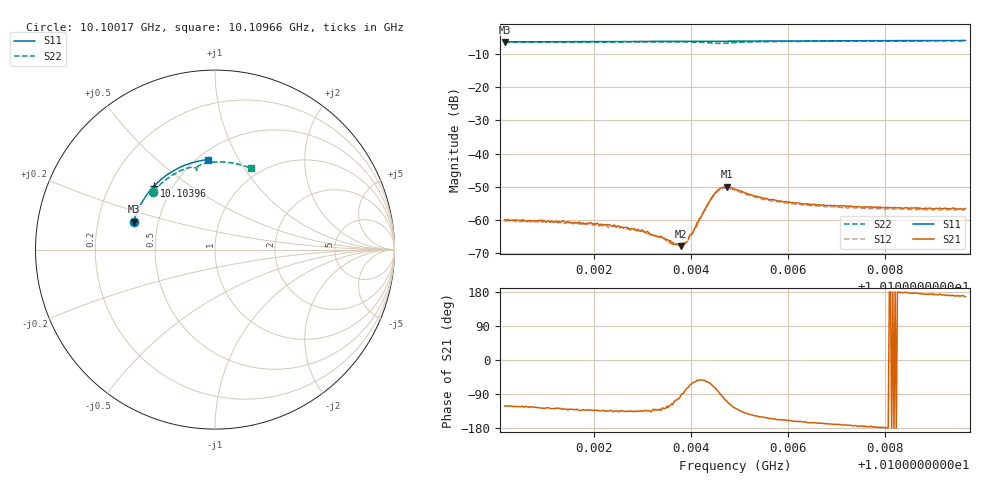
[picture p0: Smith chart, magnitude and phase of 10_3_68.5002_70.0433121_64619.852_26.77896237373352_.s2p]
#  HZ  S  RI  R  50.00
! Rohde & Schwarz Vector Network Analyzer
! Rohde-Schwarz,ZNB20-2Port,1311601062101988,3.16
! Created: UTC 3/20/2024, 5:04:08 PM
! freq[Hz]  re:S11  im:S11  re:S21  im:S21  re:S12  im:S12  re:S22  im:S22
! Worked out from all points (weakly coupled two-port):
!   401 points, 10.10017 GHz to 10.10966 GHz, reference 50 ohm
!   highest |S21| = -49.99 dB at 10.10474 GHz (marker M1); lowest = -67.9 dB at 10.1038 GHz (marker M2)
!   lowest |S11| = -6.4 dB at 10.10017 GHz (marker M3), VSWR 2.84, Z = 18 + j7.26 ohm
!   |S11| at or under -10 dB: nowhere
!   |S22| runs from -6.9 to -6.1 dB; largest |S21 - S12| = 0.00034
!   S11 on the Smith chart (normalised r, x): 10.10017 GHz: 0.36, +0.15; 10.10396 GHz: 0.40, +0.37; 10.10966 GHz: 0.56, +0.76
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1.0100166e10  -0.4531 0.1551  -0.000529 -0.000864  -0.000425 -0.000856  -0.343 0.3235
1.010102e10  -0.4361 0.2045  -0.000541 -0.000751  -0.000501 -0.000798  -0.3048 0.3632
1.0101756e10  -0.4175 0.2453  -0.000589 -0.000643  -0.00054 -0.0007  -0.2682 0.3937
1.0102301e10  -0.4012 0.2741  -0.000597 -0.000608  -0.0005 -0.000575  -0.239 0.4139
1.0102776e10  -0.3855 0.2981  -0.000524 -0.000522  -0.000479 -0.000545  -0.2119 0.4296
1.0102965e10  -0.3788 0.3074  -0.000473 -0.000494  -0.000459 -0.000513  -0.2006 0.4355
1.0103203e10  -0.3701 0.3191  -0.000421 -0.00043  -0.000371 -0.00046  -0.1861 0.4422
1.0103345e10  -0.3646 0.3258  -0.000381 -0.000415  -0.000324 -0.000456  -0.177 0.4459
1.0103653e10  -0.3526 0.3402  -0.000145 -0.000402  -0.000145 -0.000419  -0.1566 0.4533
1.0103796e10  -0.3468 0.3467  -2.14e-05 -0.000404  2.29e-05 -0.000416  -0.1466 0.4561
1.0103891e10  -0.3429 0.3509  8.09e-05 -0.000447  0.000125 -0.000418  -0.1395 0.4574
1.0103962e10  -0.34 0.354  0.00019 -0.00052  0.000219 -0.000492  -0.1341 0.4583
1.0104057e10  -0.3359 0.358  0.00035 -0.000592  0.000408 -0.000527  -0.1268 0.4587
1.0104365e10  -0.3226 0.3711  0.000917 -0.00156  0.00105 -0.00141  -0.1036 0.4525
1.0104484e10  -0.3173 0.376  0.000774 -0.00234  0.000929 -0.00217  -0.0998 0.446
1.0104626e10  -0.311 0.3818  -0.000145 -0.00304  0.000124 -0.00292  -0.103 0.4421
1.0104745e10  -0.3057 0.3864  -0.00104 -0.00299  -0.000766 -0.00292  -0.1057 0.4467
1.0104911e10  -0.298 0.3929  -0.00173 -0.00232  -0.0015 -0.00237  -0.1017 0.4575
1.0105528e10  -0.2685 0.4157  -0.00188 -0.00101  -0.00169 -0.0011  -0.0616 0.479
1.01065e10  -0.2184 0.4468  -0.00164 -0.000397  -0.00155 -0.000559  0.00363 0.4881
1.010809e10  -0.1296 0.4834  -0.00154 5.29e-06  -0.00147 -0.000174  0.1061 0.4808
1.0109655e10  -0.0368 0.5015  -0.00146 0.000335  -0.00142 0.000146  0.2017 0.4524
